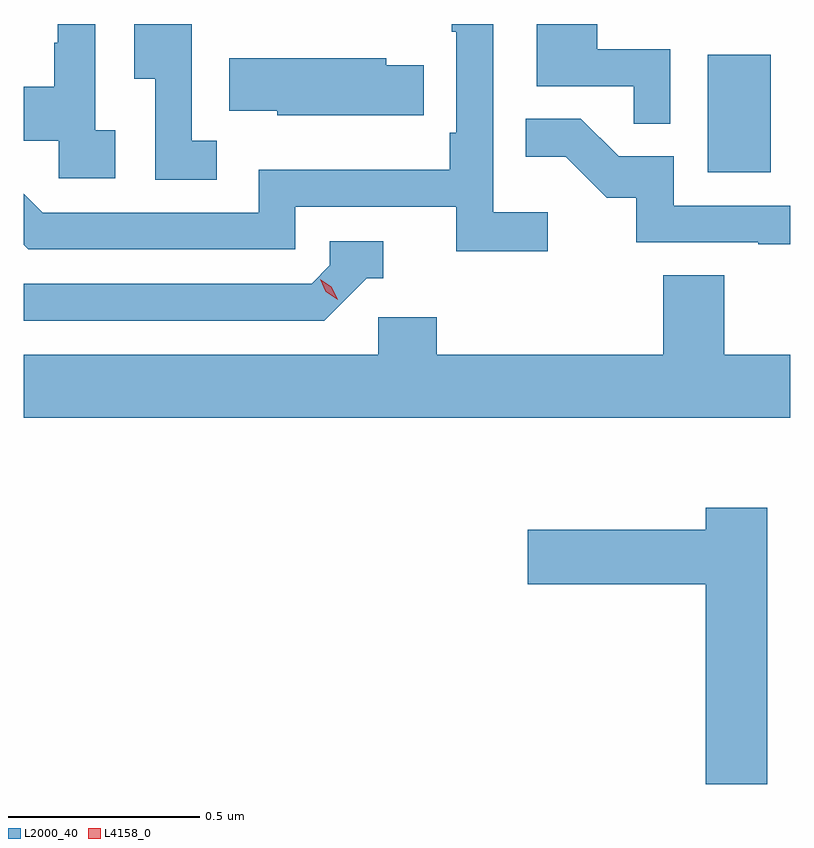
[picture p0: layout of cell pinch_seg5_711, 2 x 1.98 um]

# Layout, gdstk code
import gdstk
lib = gdstk.Library(unit=1e-6, precision=1e-09)
def R(c, l, rs):  # rectangles x0, y0, x1, y1
    for r in rs: c.add(gdstk.rectangle(r[:2], r[2:], *l))
def P(c, l, *ps):  # polygons
    for p in ps: c.add(gdstk.Polygon(p, *l))
L2000_40 = (2000, 40)
L4158_0 = (4158, 0)

pinch_seg5_711 = lib.new_cell('pinch_seg5_711')
R(pinch_seg5_711, L2000_40, [(1123.514,848.076,1123.678,848.383)])
P(pinch_seg5_711, L2000_40, [(1123.096,847.972),(1122.954,847.972),(1122.954,848.463),(1122.846,848.463),(1122.846,848.443),(1122.858,848.443),(1122.858,848.179),(1122.84,848.179),(1122.84,848.083),(1122.342,848.083),(1122.342,847.971),(1121.778,847.971),(1121.729,848.02),(1121.729,847.887),(1121.741,847.875),(1122.438,847.875),(1122.438,847.986),(1122.857,847.986),(1122.857,847.87),(1123.096,847.87)],
  [(1122.232,848.159),(1122.168,848.159),(1122.168,848.463),(1122.017,848.463),(1122.017,848.32),(1122.072,848.32),(1122.072,848.056),(1122.232,848.056)],
  [(1121.968,848.186),(1121.916,848.186),(1121.916,848.463),(1121.818,848.463),(1121.818,848.414),(1121.808,848.414),(1121.808,848.299),(1121.729,848.299),(1121.729,848.159),(1121.82,848.159),(1121.82,848.061),(1121.968,848.061)],
  [(1123.416,848.397),(1123.225,848.397),(1123.225,848.463),(1123.067,848.463),(1123.067,848.301),(1123.321,848.301),(1123.321,848.203),(1123.416,848.203)],
  [(1122.773,848.355),(1122.675,848.355),(1122.675,848.374),(1122.265,848.374),(1122.265,848.237),(1122.39,848.237),(1122.39,848.225),(1122.773,848.225)],
  [(1123.729,847.989),(1123.425,847.989),(1123.425,848.118),(1123.281,848.118),(1123.183,848.216),(1123.039,848.216),(1123.039,848.117),(1123.143,848.117),(1123.25,848.01),(1123.327,848.01),(1123.327,847.893),(1123.645,847.893),(1123.645,847.888),(1123.729,847.888)],
  [(1122.624,847.8),(1122.667,847.8),(1122.667,847.896),(1122.528,847.896),(1122.528,847.833),(1122.48,847.785),(1121.729,847.785),(1121.729,847.689),(1122.513,847.689)],
  [(1123.729,847.6),(1123.557,847.6),(1123.557,847.808),(1123.397,847.808),(1123.397,847.6),(1122.806,847.6),(1122.806,847.698),(1122.654,847.698),(1122.654,847.6),(1121.729,847.6),(1121.729,847.436),(1123.729,847.436)],
  [(1123.669,847.201),(1123.508,847.201),(1123.508,847.143),(1123.044,847.143),(1123.044,847.001),(1123.508,847.001),(1123.508,846.48),(1123.669,846.48)])
P(pinch_seg5_711, L4158_0, [(1122.548,847.744),(1122.517,847.764),(1122.502,847.797),(1122.502,847.797),(1122.502,847.797),(1122.532,847.777),(1122.548,847.745),(1122.548,847.744)])

lib.write_gds('pinch_seg5_711.gds')
